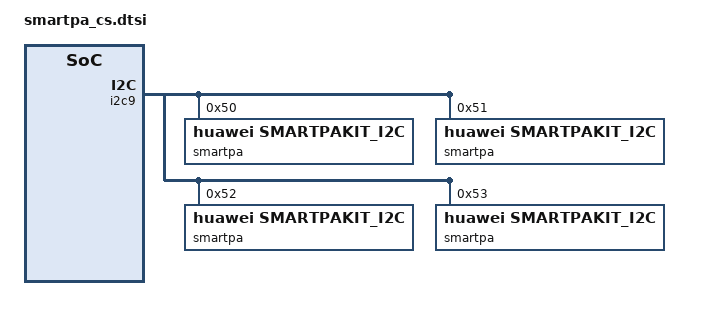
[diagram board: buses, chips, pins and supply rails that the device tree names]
&i2c9 {
			#address-cells = <1>;
			#size-cells = <0>;
			smartpa@50{
				compatible = "huawei,smartpakit_i2c";
				reg = <0x50>;
				/* 0 MAXIM, 1 NXP, 2 TI, 3 OTHER, 4:huawei customize */
				chip_vendor = <4>;
				/* refer to smartpakit.out_device prop */
				chip_id = <0>;
				chip_model = "03-01";
				status = "okay";

				/* reg_ctl node: a node contains three data<addr value ctl_type>
				* ctl_type: 0 read reg(default), 1 write reg, 2 only time delay
				* value:
				*     read:  reg number(num >= 1)
				*     write: reg value
				*     delay: time delay
				* time delay unit: msecs */
				version_regs = <0x0 1 0>;
				dump_regs = <
					0x000000 1          0
					0x000008 1          0
					0x002014 0x21       0
					0x002400 1          0
					0x002c04 0xd        0
					0x003800 0x31       0
					0x004004 1          0
					0x004220 1          0
					0x004300 1          0
					0x004800 0x3d       0
					0x004C00 1          0
					0x004C20 0x15       0
					0x006000 1          0
					0x006404 0x11       0
					0x006450 1          0
					0x006800 0x9        0
					0x006C04 1          0
					0xd00000 0x4d       0
					0xe02800 1          0>;

				hw_reset {
					gpio_reset = <&pio 30 0>; /* GPIO 30 */
					/* gpio_state node: a node contains two data<state delay>
					* time delay unit: msecs */
					ctl_sequence = <1 1 0 1>;
				};

				irq_handler {
					gpio_irq = <&pio 31 0>; /* GPIO 31 */
					/* 0x0 IRQF_TRIGGER_NONE, 0x1 IRQF_TRIGGER_RISING, 0x2 IRQF_TRIGGER_FALLING, 0x4 IRQF_TRIGGER_HIGH, 0x8 IRQF_TRIGGER_LOW*/
					irq_flags = <2>;
					/* whether or not need reset chip*/
					need_reset;
					rw_sequence = <
						0xd00020 1          0
						0xd00024 1          0
						0xd00028 1          0
						0xd0002c 1          0
						0xd00000 0xffffffff 1
						0xd00004 0xffffffff 1
						0xd00008 0xffffffff 1
						0xd0000c 0xffffffff 1
					>;
				};

				regmap_cfg {
					reg_bits = <32>;
					val_bits = <32>;
					/* 0 REGCACHE_NONE, 1 REGCACHE_RBTREE, 2 REGCACHE_COMPRESSED, 3 REGCACHE_FLAT */
					cache_type = <0>;
					max_register = <0xe0ffff>;
				};
			};

			smartpa@51{
				compatible = "huawei,smartpakit_i2c";
				reg = <0x51>;
				/* 0 MAXIM, 1 NXP, 2 TI, 3 OTHER, 4:huawei customize */
				chip_vendor = <4>;
				/* refer to smartpakit.out_device prop */
				chip_id = <1>;
				chip_model = "03-01";
				status = "okay";

				/* reg_ctl node: a node contains three data<addr value ctl_type>
				* ctl_type: 0 read reg(default), 1 write reg, 2 only time delay
				* value:
				*     read:  reg number(num >= 1)
				*     write: reg value
				*     delay: time delay
				* time delay unit: msecs */
				version_regs = <0x0 1 0>;
				dump_regs = <
					0x000000 1          0
					0x000008 1          0
					0x002014 0x21       0
					0x002400 1          0
					0x002c04 0xd        0
					0x003800 0x31       0
					0x004004 1          0
					0x004220 1          0
					0x004300 1          0
					0x004800 0x3d       0
					0x004C00 1          0
					0x004C20 0x15       0
					0x006000 1          0
					0x006404 0x11       0
					0x006450 1          0
					0x006800 0x9        0
					0x006C04 1          0
					0xd00000 0x4d       0
					0xe02800 1          0>;

				hw_reset {
					gpio_reset = <&pio 30 0>; /* GPIO 30 */
					/* gpio_state node: a node contains two data<state delay>
					* time delay unit: msecs */
					ctl_sequence = <1 1 0 1>;
				};

				irq_handler {
					gpio_irq = <&pio 83 0>; /* GPIO 83 */
					/* 0x0 IRQF_TRIGGER_NONE, 0x1 IRQF_TRIGGER_RISING, 0x2 IRQF_TRIGGER_FALLING, 0x4 IRQF_TRIGGER_HIGH, 0x8 IRQF_TRIGGER_LOW*/
					irq_flags = <2>;
					/* whether or not need reset chip*/
					need_reset;
					rw_sequence = <
						0xd00020 1          0
						0xd00024 1          0
						0xd00028 1          0
						0xd0002c 1          0
						0xd00000 0xffffffff 1
						0xd00004 0xffffffff 1
						0xd00008 0xffffffff 1
						0xd0000c 0xffffffff 1
					>;
				};

				regmap_cfg {
					reg_bits = <32>;
					val_bits = <32>;
					/* 0 REGCACHE_NONE, 1 REGCACHE_RBTREE, 2 REGCACHE_COMPRESSED, 3 REGCACHE_FLAT */
					cache_type = <0>;
					max_register = <0xe0ffff>;
				};
			};

			smartpa@52{
				compatible = "huawei,smartpakit_i2c";
				reg = <0x52>;
				/* 0 MAXIM, 1 NXP, 2 TI, 3 OTHER, 4:huawei customize */
				chip_vendor = <4>;
				/* refer to smartpakit.out_device prop */
				chip_id = <2>;
				chip_model = "03-01";
				status = "okay";

				/* reg_ctl node: a node contains three data<addr value ctl_type>
				* ctl_type: 0 read reg(default), 1 write reg, 2 only time delay
				* value:
				*     read:  reg number(num >= 1)
				*     write: reg value
				*     delay: time delay
				* time delay unit: msecs */
				version_regs = <0x0 1 0>;
				dump_regs = <
					0x000000 1          0
					0x000008 1          0
					0x002014 0x21       0
					0x002400 1          0
					0x002c04 0xd        0
					0x003800 0x31       0
					0x004004 1          0
					0x004220 1          0
					0x004300 1          0
					0x004800 0x3d       0
					0x004C00 1          0
					0x004C20 0x15       0
					0x006000 1          0
					0x006404 0x11       0
					0x006450 1          0
					0x006800 0x9        0
					0x006C04 1          0
					0xd00000 0x4d       0
					0xe02800 1          0>;

				hw_reset {
					gpio_reset = <&pio 30 0>; /* GPIO 30 */
					/* gpio_state node: a node contains two data<state delay>
					* time delay unit: msecs */
					ctl_sequence = <1 1 0 1>;
				};

				irq_handler {
					gpio_irq = <&pio 194 0>; /* GPIO 194 */
					/* 0x0 IRQF_TRIGGER_NONE, 0x1 IRQF_TRIGGER_RISING, 0x2 IRQF_TRIGGER_FALLING, 0x4 IRQF_TRIGGER_HIGH, 0x8 IRQF_TRIGGER_LOW*/
					irq_flags = <2>;
					/* whether or not need reset chip*/
					need_reset;
					rw_sequence = <
						0xd00020 1          0
						0xd00024 1          0
						0xd00028 1          0
						0xd0002c 1          0
						0xd00000 0xffffffff 1
						0xd00004 0xffffffff 1
						0xd00008 0xffffffff 1
						0xd0000c 0xffffffff 1
					>;
				};

				regmap_cfg {
					reg_bits = <32>;
					val_bits = <32>;
					/* 0 REGCACHE_NONE, 1 REGCACHE_RBTREE, 2 REGCACHE_COMPRESSED, 3 REGCACHE_FLAT */
					cache_type = <0>;
					max_register = <0xe0ffff>;
				};
			};
			
			smartpa@53{
				compatible = "huawei,smartpakit_i2c";
				reg = <0x53>;
				/* 0 MAXIM, 1 NXP, 2 TI, 3 OTHER, 4:huawei customize */
				chip_vendor = <4>;
				/* refer to smartpakit.out_device prop */
				chip_id = <3>;
				chip_model = "03-01";
				status = "okay";

				/* reg_ctl node: a node contains three data<addr value ctl_type>
				* ctl_type: 0 read reg(default), 1 write reg, 2 only time delay
				* value:
				*     read:  reg number(num >= 1)
				*     write: reg value
				*     delay: time delay
				* time delay unit: msecs */
				version_regs = <0x0 1 0>;
				dump_regs = <
					0x000000 1          0
					0x000008 1          0
					0x002014 0x21       0
					0x002400 1          0
					0x002c04 0xd        0
					0x003800 0x31       0
					0x004004 1          0
					0x004220 1          0
					0x004300 1          0
					0x004800 0x3d       0
					0x004C00 1          0
					0x004C20 0x15       0
					0x006000 1          0
					0x006404 0x11       0
					0x006450 1          0
					0x006800 0x9        0
					0x006C04 1          0
					0xd00000 0x4d       0
					0xe02800 1          0>;

				hw_reset {
					gpio_reset = <&pio 30 0>; /* GPIO 30 */
					/* gpio_state node: a node contains two data<state delay>
					* time delay unit: msecs */
					ctl_sequence = <1 1 0 1>;
				};

				irq_handler {
					gpio_irq = <&pio 73 0>; /* GPIO 73 */
					/* 0x0 IRQF_TRIGGER_NONE, 0x1 IRQF_TRIGGER_RISING, 0x2 IRQF_TRIGGER_FALLING, 0x4 IRQF_TRIGGER_HIGH, 0x8 IRQF_TRIGGER_LOW*/
					irq_flags = <2>;
					/* whether or not need reset chip*/
					need_reset;
					rw_sequence = <
						0xd00020 1          0
						0xd00024 1          0
						0xd00028 1          0
						0xd0002c 1          0
						0xd00000 0xffffffff 1
						0xd00004 0xffffffff 1
						0xd00008 0xffffffff 1
						0xd0000c 0xffffffff 1
					>;
				};

				regmap_cfg {
					reg_bits = <32>;
					val_bits = <32>;
					/* 0 REGCACHE_NONE, 1 REGCACHE_RBTREE, 2 REGCACHE_COMPRESSED, 3 REGCACHE_FLAT */
					cache_type = <0>;
					max_register = <0xe0ffff>;
				};
			};
};
